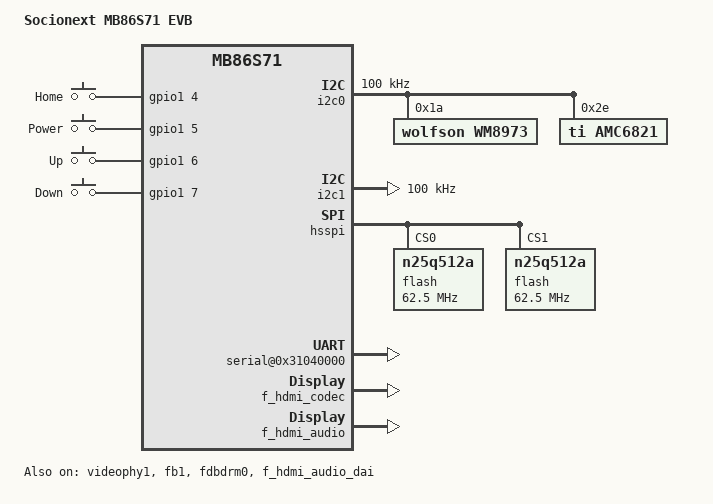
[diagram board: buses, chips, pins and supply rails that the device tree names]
/*
 * Copyright (C) 2015-2016 Socionext Inc.
 *
 * This program is free software; you can redistribute it and/or modify
 * it under the terms of the GNU General Public License version 2 as
 * published by the Free Software Foundation.
 */

/dts-v1/;
#include <dt-bindings/gpio/gpio.h>
#include <dt-bindings/thermal/thermal.h>

#include "mb86s71.dtsi"

/ {
	model = "Socionext MB86S71 EVB";
	compatible = "fujitsu,mb86s71eb","fujitsu,mb86s71";

	memory {
		device_type = "memory";
		reg = <0 0x80000000 0x80000000>;
	};

	chosen {
		bootargs = "shm_offset=2048 loglevel=4 console=ttyAMA0,115200 root=/dev/mmcblk1p1 rootfstype=ext4 rootwait rw pcie_ports=native ";

		linux,initrd-start = <0x88000000>;
		linux,initrd-end =   <0x88800000>;
		/* Backward compatibility for 2016.03-1-1 */
		/* linux,initrd-start = <0xc0000000>; */
		/* linux,initrd-end =   <0xc0800000>; */
	};

	gpio0: mb86s70_gpio0 {
		compatible = "fujitsu,mb86s70-gpio";
		reg = <0 0x31000000 0x10000>;
		gpio-controller;
		#gpio-cells = <2>;
		clocks = <&clk_alw_5_8>;
		base = <0>;
		resume_function_enabled = <24>, <25> , <26>, <27>, <28>, <29>,
			<30>, <31>;
		power-domains = <&power 1>;
	};
	gpio1: mb86s70_gpio1 {
		compatible = "fujitsu,mb86s70-gpio";
		reg = <0 0x31010000 0x10000>;
		gpio-controller;
		#gpio-cells = <2>;
		clocks = <&clk_alw_5_8>;
		base = <32>;
		resume_function_enabled = <36>, <37>, <38>, <39>;
		power-domains = <&power 1>;
	};

	gpio-keys {
		compatible = "gpio-keys-polled";
		poll-interval = <20>;

		home {
			label = "Home";
			gpios = <&gpio1 4 GPIO_ACTIVE_HIGH>;
			linux,code = <102>;
			gpio-key;
		};
		power {
			label = "Power";
			gpios = <&gpio1 5 GPIO_ACTIVE_HIGH>;
			linux,code = <28>;
			gpio-key;
		};
		up {
			label = "Up";
			gpios = <&gpio1 6 GPIO_ACTIVE_HIGH>;
			linux,code = <103>;
			gpio-key;
		};
		down {
			label = "Down";
			gpios = <&gpio1 7 GPIO_ACTIVE_HIGH>;
			linux,code = <108>;
			gpio-key;
		};
	};

	videomodes@0 {
		compatible = "video-modes";
		mode0: mode@0 {
			mode  = "1280x768x32bpp";
			hactive = <1280>; /* htotal 1440 (+160) */
			vactive = <768>; /* Vtotal 790 (+22) */
			hback-porch = <8>;
			hfront-porch = <136>;
			hsync-len = <16>;
			vback-porch = <12>;
			vfront-porch = <3>;
			vsync-len = <7>;
			flags = <0x25>; /* h low, v low, de high */
			clock = <71400>; /* 71.4MHz link clock */
			bpp = <32>;
			width-mm = <196>;
			height-mm = <117>;
			/* scanout-rotation = <0>; */
			red_offset      = <16>;
			red_length      = <8>;
			green_offset    = <8>;
			green_length    = <8>;
			blue_offset     = <0>;
			blue_length     = <8>;
			alpha_offset    = <0>;
			alpha_length    = <0>;
		};
	};

	i2c0 {
		compatible = "fujitsu,f_i2c";
		reg = <0 0x31200000 0x10000>;
		interrupts = <0 312 0x4>;
		#address-cells = <1>;
		#size-cells = <0>;
		clock-frequency = <100000>;
		clocks = <&clk_alw_5_8>;
		power-domains = <&power 1>;

		wm8973: wm8973@1a {
			compatible = "wolfson,wm8973";
			reg = <0x1a>;
		};

		/* default to fan always on high, even during suspend */
		amc6821: amc6821@2e {
			status = "ok";
			compatible = "ti,amc6821";
			reg = <0x2e>;
			low_temp = <0x10>; // unreasonably low target temp == fan always on high
			pwminv = <1>;      //  1, inverted PWM output
			fan_char = <0x25>;
		};
		/* alternative fan profile: fan responds to temperature + off in suspend */
		amc6821a: amc6821a@2e {
			status = "disabled";
			compatible = "ti,amc6821";
			reg = <0x2e>;
			low_temp = <0x41>; // 32 degrees C
			pwminv = <1>;      //  1, inverted PWM output
			fan_char = <0x25>;
			off-in-suspend; // stop fan during suspend
		};

	};

	i2c1 {
		compatible = "fujitsu,f_i2c";
		reg = <0 0x31210000 0x10000>;
		interrupts = <0 313 0x4>;
		#address-cells = <1>;
		#size-cells = <0>;
		clocks = <&clk_alw_5_8>;
		clock-frequency = <100000>;
		power-domains = <&power 1>;

		sc16is750: sc16is750@48 {
			compatible = "nxp,sc16is750";
			reg = <0x48>;
			fixed-clk-freq = <1843200>; /* 1.8432MHz */
			interrupts = <0 102 0x1>; /* PD54 - EXTINT22 shared */
			not-tty = <0>;
			gpio-controller;
			#gpio-cells = <2>;
		};

		sn65dsi84: sn65dsi84@2c {
			compatible = "sn65dsi84";
			reg = <0x2c>;
			lvds-clk-range = /bits/ 8 <0x2>;
			dsi-clk-divider = /bits/ 8 <0xd>;
			cha-dsi-lanes = /bits/ 8 <0x2>;
			cha-dsi-clk-range = /bits/ 8 <0x64>;
			de-neg-polarity = /bits/ 8 <0x0>;
			hs-neg-polarity = /bits/ 8 <0x1>;
			vs-neg-polarity = /bits/ 8 <0x1>;
			lvds-link-cfg = /bits/ 8 <0x1>;
			channel-a-24bpp = /bits/ 8 <0x1>;
			channel-b-24bpp = /bits/ 8 <0x0>;
			sync-delay = /bits/ 16 <32>;
		};
	};

	hsspi: hsspi.0 {
		compatible = "fujitsu,mb86s7x-hsspi";
		reg = <0 0x30010000 0x1000>,
		      <0 0x48000000 0x1000000>;
		interrupts = <0 361 0x4>,
			     <0 360 0x4>,
			     <0 362 0x4>;
		mode = <1>; // HS_SPI_DIRECT_MODE
		read_operation = <1>; // HS_SPI_NORMAL_READ
		write_operation = <5>; // HS_SPI_NORMAL_WRITE
		active_clk_edges;
		bank_size = <0x01000000>;	// 16MB flash bank
		num_chipselect = <2>;
		addr_width = <3>;
		dma_rx_dreq = <0x800000>; // XDDES_TF_DREQ6 !!! GUESSED
		dma_tx_dreq = <0x900000>; // XDDES_TF_DREQ7 !!! GUESSED
		dma_channel = <0>;
		sync_on = <1>;
		clock = <0>; // HS_SPI_HCLK
		clocks = <&clk_alw_1_8>, <&clk_main_6_8>;
		clock-names = "iHCLK", "iPCLK";
		#address-cells = <1>;
		#size-cells = <0>;

		flash@0 {
			compatible = "n25q512a";
			spi-max-frequency = <62500000>;
			spi-rx-bus-width = <4>;
			spi-tx-bus-width = <4>;
			reg = <0>;
			spi-cpha;
			spi-cpol;
			#address-cells = <1>;
			#size-cells = <1>;

			spipart0@0 {
				label = "scb-spi-firmware";
				reg = <0 0x200000>;
			};

			spipart1@1 {
				label = "spi-romfs";
				reg = <0x200000 0x100000>;
			};

			spipart2@2 {
				label = "spi-user0";
				reg = <0x300000 0xd00000>;
			};
		};

		flash@1 {
			compatible = "n25q512a";
			spi-max-frequency = <62500000>;
			spi-rx-bus-width = <4>;
			spi-tx-bus-width = <4>;
			spi-cpha;
			spi-cpol;
			reg = <1>;

			#address-cells = <1>;
			#size-cells = <1>;

			spipart0@0 {
				label = "spi-user1";
				reg = <0 0x1000000>;
			};
		};
	};

	gpio-flash@xcs4-gpio {
		status = "disabled";
		compatible = "gpio-control-nor";
		reg = <0 0x2a4d0000 0x10000>; /* prmux */
		#address-cells = <1>;
		#size-cells = <1>;
		bank-width = <2>;
		device-width = <2>;
		power-domains = <&power 1>;

		gpios = <&gpio0 30 0>,	/* rdy PD30 */
			 <&gpio0 8 0>, 	/* nce */
			 <&gpio0 10 0>, 	/* noe */
			 <&gpio0 13 0>, 	/* nwe */

			/* 16 data */

			<&gpio0 14 0>,
			<&gpio0 15 0>,
			<&gpio0 16 0>,
			<&gpio0 17 0>,
			<&gpio0 18 0>,
			<&gpio0 19 0>,
			<&gpio0 20 0>,
			<&gpio0 21 0>,
			<&gpio0 22 0>,
			<&gpio0 23 0>,
			<&gpio0 24 0>,
			<&gpio0 25 0>,
			<&gpio0 26 0>,
			<&gpio0 27 0>,
			<&gpio0 28 0>,
			<&gpio0 29 0>,

			/* as many address as we have (22) */

			<&gpio1 0 0>,
			<&gpio1 1 0>,
			<&gpio1 2 0>,
			<&gpio1 3 0>,
			<&gpio1 4 0>,
			<&gpio1 5 0>,
			<&gpio1 6 0>,
			<&gpio1 7 0>,
			<&gpio1 8 0>,
			<&gpio1 9 0>,
			<&gpio1 10 0>,
			<&gpio1 11 0>,
			<&gpio1 12 0>,
			<&gpio1 13 0>,
			<&gpio1 14 0>,
			<&gpio1 15 0>,
			<&gpio1 16 0>,
			<&gpio1 17 0>,
			<&gpio1 18 0>,
			<&gpio1 19 0>,
			<&gpio1 20 0>,
			<&gpio1 21 0>;

		firmware@0 { /* 2MByte firmware region */
			label = "firmware";
			reg = <0 0x200000>;
		};

		romfs@200000 { /* only 8MByte is addressable by gpio */
			label = "romfs";
			reg = <0x200000 0x5e0000>;
		};
		
	};

	flash@XSC4 {
		status = "disabled";
		compatible = "spansion,s29gl128p", "cfi-flash";
		reg = <0 0x40000000 0x01000000>;
		bank-width = <2>;
		device-width = <2>;
		power-domains = <&power 1>;
	};

	/* Enable only UART0 of S71-evb */
	serial@0x31040000 {
		status = "okay";
	};
	serial@0x31050000 {
		status = "disabled";
	};
	serial@0x31060000 {
		status = "disabled";
	};

	timer0: timer0@31080000 {
		#clock-cells = <1>;
		compatible = "arm,sp804";
		reg = <0 0x31080000 0x10000>;
		interrupts = <0 324 4>,
			     <0 325 4>;
		clocks = <&clk_alw_6_8>;
	};

	timer {
		compatible = "arm,armv7-timer";
		clock-frequency = <125000000>;
		interrupts = <1 13 0xf08>, /* PHYS Secure */
			     <1 14 0xf08>; /* PHYS Non-Secure */
	};

	backlight: gpio_backlight {
		compatible = "generic,gpio-backlight";
		enable-gpio = <&sc16is750 0 GPIO_ACTIVE_HIGH>;
	};

	touch: touch-wxga {
		compatible = "mitsubishi,tpcj4";
		bridge = <&sc16is750>;
		port = <0>;
		sample-rate = <0x3>;
		adjust = <0x1>;
		sensitivity = <0x1>;
	};
};

&videophy0 {
	bridge = <&sn65dsi84>;

	dsi_lanes = /bits/ 8 <2>; /* "real" number of lanes(PHY_IF_CFG.num_lanes + 1) */
	virtual_channel = /bits/ 8 <0>;

	txesc_clock_division = /bits/ 8 <4>;
	to_clock_division = /bits/ 8 <1>;

	/* DPI_CFG */
	dpi_color_coding = /bits/ 8 <7>;
	shutd_act_low = /bits/ 8 <0>;
	colorm_act_low = /bits/ 8 <0>;
	en18_loosely = /bits/ 8 <0>;

	/* VID_MODE_CFG */
	vid_mode_type = /bits/ 8 <3>;
	en_lp_vsa = /bits/ 8 <1>;
	en_lp_vbp = /bits/ 8 <1>;
	en_lp_vfp = /bits/ 8 <1>;
	en_lp_vact = /bits/ 8 <1>;
	en_lp_hbp = /bits/ 8 <1>;
	en_lp_hfp = /bits/ 8 <1>;
	en_multi_pkt = /bits/ 8 <0>;
	en_null_pkt = /bits/ 8 <0>;
	lpcmden = /bits/ 8 <0>;

	/* VID_PKT_CFG */
	/* vid_pkt_size /bits/ 16 *//* use display_timing.hactive.typ */
	num_chunks = /bits/ 16 <0>;
	null_pkt_size = /bits/ 16 <0>;

	/* TMR_LINE_CFG */
	/* calculated with display_timing */
	/* hsa_time /bits/ 16 */
	/* hbp_time /bits/ 16 */
	/* hline_time /bits/ 16 */

	/* VTIMING_CFG */
	/* calculated with display_timing */
	/* vsa_lines /bits/ 8 */
	/* vbp_lines /bits/ 8 */
	/* vfp_lines /bits/ 8 */
	/* v_active_lines /bits/ 16 */

	/* PHY_TMR_CFG */
	phy_lp2hstime = /bits/ 8 <34>;
	phy_hs2lptime = /bits/ 8 <24>;

	/* TO_CNT_CFG */
	hstx_to_cnt = /bits/ 16 <0>;

	/* PHY_IF_CFG */
	phy_stop_wait_time = /bits/ 8 <54>;

	/* PHY_IF_CTRL */
	phy_txrequestclkhs = /bits/ 8 <1>;

	/* LP_CMD_TIM */
	invact_lpcmd_time = /bits/ 8 <0>;
	outvact_lpcmd_time = /bits/ 8 <10>;

	/* PHY_SETUP_CL */
	sap_tlpx_c = /bits/ 8 <7>;
	sap_hs0_c = /bits/ 8 <35>;
	sap_trail_c = /bits/ 8 <10>;
	sap_pre_c = /bits/ 8 <0>;

	/* PHY_SETUP_DL */
	sap_tlpx_d = /bits/ 8 <7>;
	sap_hs0_d = /bits/ 8 <17>;
	sap_trail_d = /bits/ 8 <9>;
	sap_pre_d = /bits/ 8 <0>;
};


/* Video Port Selection */

/*
 These statuses are configured by boot loader automatically if "auto".
 If NOT "auto", the status is never changed by boot loader.
 Don't activate both MIPI-DSI Type and HDMI Type video ports simultaneously.
*/

&videophy0 { /* MIPI-DSI Type Video PHY configuration */
	status = "disabled";
	/* "okay":	MIPI-DSI Type video activated */
	/* "disabled":	MIPI-DSI Type video disabled */
	/* "auto":	Selscted MIPI-DSI Type or HDMI Type by boot loader */
};

&videophy1 { /* HDMI Type Video PHY configuration */
	status = "okay";
	/* "okay":	HDMI Type video activated */
	/* "disabled":	HDMI Type video disabled */
	/* "auto":	Selscted MIPI-DSI Type or HDMI Type by boot loader */
};

&fb0 {
	status = "disabled";
	/* "okay":	MIPI-DSI Type video activated */
	/* "disabled":	MIPI-DSI Type video disabled */
	/* "auto":	Selscted MIPI-DSI Type or HDMI Type by boot loader */

	/* EVB LCD timings / resolution (mipidsi) */
	mode  = "1280x768x32bpp";
};

&fb1 {
	status = "okay";
	/* "okay":	HDMI Type activated */
	/* "disabled":	HDMI Type disabled */
	/* "auto":	Selscted MIPI-DSI Type or HDMI Type by boot loader */
};

&fdbdrm0 {
	status = "okay";
	/* "okay":	Activated it */
	/* "disabled":	Disabled it */
	/* "auto":	Selscted MIPI-DSI Type or HDMI Type by boot loader */

	/* Don't remove following two address for boot loader auto video configuration. */
	fb0_addr = <&fb0>;
	fb1_addr = <&fb1>;
	bind = <&fb1>;
	/*  <0>:	To be configured &fb0 for MIPI-DSI Type or &fb1 for HDMI Type by boot loader. */
	/*  <&fb0>:	MIPI-DSI Type video activated with status okey */
	/*  <&fb1>:	HDMI Type video activated with status okey */


};


/* HDMI Type Audio configuration */
/* 
  HDMI Type audio can be used only with HDMI Type video configuration, so it
   cannot be used with MIPI-DSI Type video configuration.
*/


&f_hdmi_audio_dai {
	status = "okay";
	/* "okay":	HDMI Type audio activated */
	/* "disabled":	HDMI Type audio disabled */
	/* "auto":	Selscted by boot loader with HDMI Type video */
};

&f_hdmi_codec {
	status = "okay";
	/* "okay":	HDMI Type audio activated */
	/* "disabled":	HDMI Type audio disabled */
	/* "auto":	Selscted by boot loader with HDMI Type video */
};

&f_hdmi_audio {
	status = "okay";
	/* "okay":	HDMI Type audio activated */
	/* "disabled":	HDMI Type audio disabled */
	/* "auto":	Selscted by boot loader with HDMI Type video */
};


&sc16is750 {
	status = "disabled";
	/* "okay":	Activated it for MIPI-DSI Type video */
	/* "disabled":	MIPI-DSI Type video disabled */
	/* "auto":	Selscted by boot loader with MIPI-DSI Type video */
};

&sn65dsi84 {
	status = "disabled";
	/* "okay":	Activated it for MIPI-DSI Type video */
	/* "disabled":	MIPI-DSI Type video disabled */
	/* "auto":	Selscted by boot loader with MIPI-DSI Type video */
};

&backlight {
	status = "disabled";
	/* "okay":	Activated it for MIPI-DSI Type video */
	/* "disabled":	MIPI-DSI Type video disabled */
	/* "auto":	Selscted by boot loader with MIPI-DSI Type video */
};

&touch {
	status = "disabled";
	/* "okay":	Activated it for MIPI-DSI Type video */
	/* "disabled":	MIPI-DSI Type video disabled */
	/* "auto":	Selscted by boot loader with MIPI-DSI Type video */
};

&alsa {
	status = "disabled";
};
